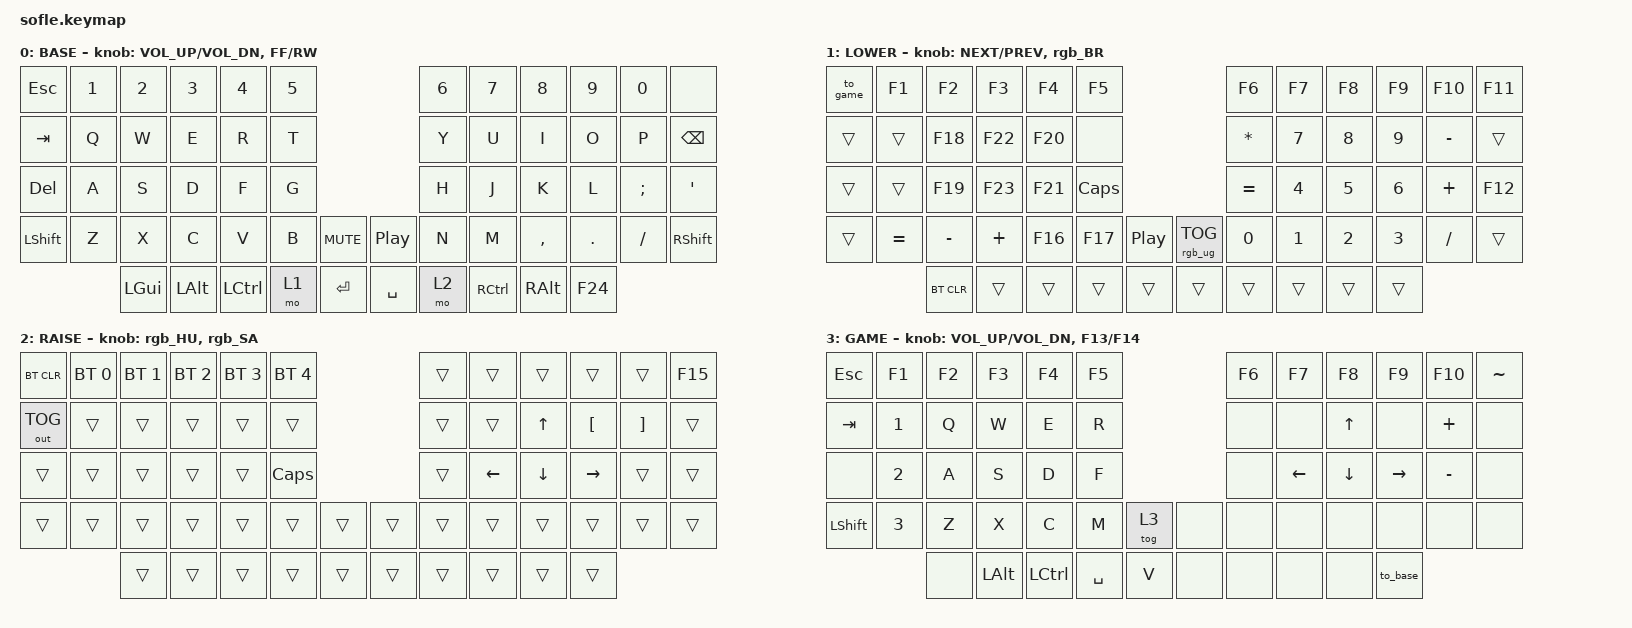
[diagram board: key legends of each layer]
/*
 * Copyright (c) 2020 The ZMK Contributors
 *
 * SPDX-License-Identifier: MIT
 *
 * https://zmk.dev/docs/codes/#f-keys
 */

#include <behaviors.dtsi>
#include <dt-bindings/zmk/keys.h>
#include <dt-bindings/zmk/bt.h>
#include <dt-bindings/zmk/rgb.h>
#include <dt-bindings/zmk/ext_power.h>
#include <dt-bindings/zmk/outputs.h>

/ {



    macros {
        to_game: layer_game {
            label = "TO_GAME";
            compatible = "zmk,behavior-macro";
            #binding-cells = <0>;
            bindings = <&to 3 &rgb_ug RGB_ON>;
        }; 
        to_base: layer_base {
            label = "TO_BASE";
            compatible = "zmk,behavior-macro";
            #binding-cells = <0>;
            bindings = <&to 0 &rgb_ug RGB_OFF>;
        };
    };

    behaviors {
        rgb_BR: rgb_encoder_1 {
            compatible = "zmk,behavior-sensor-rotate";
            #sensor-binding-cells = <0>;
            bindings = <&rgb_ug RGB_BRI>, <&rgb_ug RGB_BRD>;
        };
        rgb_HU: rgb_encoder_2 {
            compatible = "zmk,behavior-sensor-rotate";
            #sensor-binding-cells = <0>;
            bindings = <&rgb_ug RGB_HUI>, <&rgb_ug RGB_HUD>;
        };
        rgb_SA: rgb_encoder_3 {
            compatible = "zmk,behavior-sensor-rotate";
            #sensor-binding-cells = <0>;
            bindings = <&rgb_ug RGB_SAI>, <&rgb_ug RGB_SAD>;
        };
    }; 
    
    keymap {
        compatible = "zmk,keymap";

    default_layer {
        label = "BASE";
        bindings = <
            // ╭─────────────┬─────────────┬─────────────┬─────────────┬─────────────┬─────────────╮                               ╭─────────────┬─────────────┬─────────────┬─────────────┬─────────────┬─────────────╮

                 &kp ESC       &kp N1        &kp N2        &kp N3        &kp N4        &kp N5                                        &kp N6        &kp N7        &kp N8        &kp N9        &kp N0        &none
            // ├─────────────┼─────────────┼─────────────┼─────────────┼─────────────┼─────────────┤                               ├─────────────┼─────────────┼─────────────┼─────────────┼─────────────┼─────────────┤
                                                                                                                                                                                                                            
                 &kp TAB       &kp Q         &kp W         &kp E         &kp R         &kp T                                         &kp Y         &kp U         &kp I         &kp O         &kp P         &kp BSPC
            // ├─────────────┼─────────────┼─────────────┼─────────────┼─────────────┼─────────────┤                               ├─────────────┼─────────────┼─────────────┼─────────────┼─────────────┼─────────────┤
                                                                                                                                                                                                                                
                 &kp DEL       &kp A         &kp S         &kp D         &kp F         &kp G                                         &kp H         &kp J         &kp K         &kp L         &kp SEMI      &kp SQT
            // ├─────────────┼─────────────┼─────────────┼─────────────┼─────────────┼─────────────┼─────────────╮   ╭─────────────┼─────────────┼─────────────┼─────────────┼─────────────┼─────────────┼─────────────┤
                                                                                                                                                                                                                        
                 &kp LSHFT     &kp Z         &kp X         &kp C         &kp V         &kp B         &kp C_MUTE        &kp C_PP      &kp N         &kp M         &kp COMMA     &kp DOT       &kp FSLH      &kp RSHFT
            // ╰─────────────┴─────────────┼─────────────┼─────────────┼─────────────┼─────────────┼─────────────┤   ├─────────────┼─────────────┼─────────────┼─────────────┼─────────────┼─────────────┴─────────────╯
                                                                                                                                                                                                                                
                                             &kp LGUI      &kp LALT      &kp LCTRL     &mo 1         &kp RET           &kp SPACE     &mo 2         &kp RCTRL     &kp RALT      &kp F24
            //                             ╰─────────────┴─────────────┴─────────────┴─────────────┴─────────────╯   ╰─────────────┴─────────────┴─────────────┴─────────────┴─────────────╯
        >;

            sensor-bindings = <&inc_dec_kp C_VOL_UP C_VOL_DN &inc_dec_kp C_FF C_RW>;
        };


    lower_layer {
        label = "LOWER";
        bindings = <
            // ╭─────────────┬─────────────┬─────────────┬─────────────┬─────────────┬─────────────╮                               ╭─────────────┬─────────────┬─────────────┬─────────────┬─────────────┬─────────────╮

                 &to_game      &kp F1        &kp F2        &kp F3        &kp F4        &kp F5                                        &kp F6        &kp F7        &kp F8        &kp F9        &kp F10       &kp F11
            // ├─────────────┼─────────────┼─────────────┼─────────────┼─────────────┼─────────────┤                               ├─────────────┼─────────────┼─────────────┼─────────────┼─────────────┼─────────────┤
                                                                                                                                                                                                                            
                 &trans        &trans        &kp F18       &kp F22       &kp F20       &none                                         &kp STAR      &kp N7        &kp N8        &kp N9        &kp MINUS     &trans        
            // ├─────────────┼─────────────┼─────────────┼─────────────┼─────────────┼─────────────┤                               ├─────────────┼─────────────┼─────────────┼─────────────┼─────────────┼─────────────┤

                 &trans        &trans        &kp F19       &kp F23       &kp F21       &kp CLCK                                      &kp EQUAL     &kp N4        &kp N5        &kp N6        &kp PLUS      &kp F12
            // ├─────────────┼─────────────┼─────────────┼─────────────┼─────────────┼─────────────┼─────────────╮   ╭─────────────┼─────────────┼─────────────┼─────────────┼─────────────┼─────────────┼─────────────┤
                                                                                                                                                                                                                        
                 &trans        &kp EQUAL     &kp MINUS     &kp PLUS      &kp F16       &kp F17       &kp C_PP          &rgb_ug RGB_TOG &kp N0       &kp N1        &kp N2        &kp N3        &kp SLASH     &trans
            // ╰─────────────┴─────────────┼─────────────┼─────────────┼─────────────┼─────────────┼─────────────┤   ├─────────────┼─────────────┼─────────────┼─────────────┼─────────────┼─────────────┴─────────────╯
                                                                                                                                                                                                                                
                                             &bt BT_CLR    &trans        &trans        &trans        &trans            &trans        &trans        &trans        &trans        &trans
            //                             ╰─────────────┴─────────────┴─────────────┴─────────────┴─────────────╯   ╰─────────────┴─────────────┴─────────────┴─────────────┴─────────────╯
        >;

            sensor-bindings = <&inc_dec_kp C_NEXT C_PREV &rgb_BR>;
        };

    raise_layer {
        label = "RAISE";
        bindings = <
            // ╭─────────────┬─────────────┬─────────────┬─────────────┬─────────────┬─────────────╮                               ╭─────────────┬─────────────┬─────────────┬─────────────┬─────────────┬─────────────╮

                 &bt BT_CLR    &bt BT_SEL 0  &bt BT_SEL 1  &bt BT_SEL 2  &bt BT_SEL 3  &bt BT_SEL 4                                  &trans        &trans        &trans        &trans        &trans        &kp F15
            // ├─────────────┼─────────────┼─────────────┼─────────────┼─────────────┼─────────────┤                               ├─────────────┼─────────────┼─────────────┼─────────────┼─────────────┼─────────────┤
                                                                                                                                                                                                                            
                 &out OUT_TOG  &trans        &trans        &trans        &trans        &trans                                        &trans        &trans        &kp UP        &kp LBKT      &kp RBKT      &trans        
            // ├─────────────┼─────────────┼─────────────┼─────────────┼─────────────┼─────────────┤                               ├─────────────┼─────────────┼─────────────┼─────────────┼─────────────┼─────────────┤
                                                                                                                                                                                                                                
                 &trans        &trans        &trans        &trans        &trans        &kp CLCK                                      &trans        &kp LEFT      &kp DOWN      &kp RIGHT     &trans        &trans
            // ├─────────────┼─────────────┼─────────────┼─────────────┼─────────────┼─────────────┼─────────────╮   ╭─────────────┼─────────────┼─────────────┼─────────────┼─────────────┼─────────────┼─────────────┤
                                                                                                                                                                                                                        
                 &trans        &trans        &trans        &trans        &trans        &trans        &trans            &trans        &trans        &trans        &trans        &trans        &trans        &trans
            // ╰─────────────┴─────────────┼─────────────┼─────────────┼─────────────┼─────────────┼─────────────┤   ├─────────────┼─────────────┼─────────────┼─────────────┼─────────────┼─────────────┴─────────────╯
                                                                                                                                                                                                                            
                                             &trans        &trans        &trans        &trans        &trans            &trans        &trans        &trans        &trans        &trans
            //                             ╰─────────────┴─────────────┴─────────────┴─────────────┴─────────────╯   ╰─────────────┴─────────────┴─────────────┴─────────────┴─────────────╯
        >;

            sensor-bindings = <&rgb_HU &rgb_SA>;
        };


    game_layer {
        label = "GAME";
        bindings = <
            // ╭─────────────┬─────────────┬─────────────┬─────────────┬─────────────┬─────────────╮                               ╭─────────────┬─────────────┬─────────────┬─────────────┬─────────────┬─────────────╮

                 &kp ESC       &kp F1        &kp F2        &kp F3        &kp F4        &kp F5                                        &kp F6        &kp F7        &kp F8        &kp F9        &kp F10       &kp TILDE
            // ├─────────────┼─────────────┼─────────────┼─────────────┼─────────────┼─────────────┤                               ├─────────────┼─────────────┼─────────────┼─────────────┼─────────────┼─────────────┤
                                                                                                                                                                                                                            
                 &kp TAB       &kp N1        &kp Q         &kp W         &kp E         &kp R                                         &none         &none         &kp UP        &none         &kp PLUS         &none
            // ├─────────────┼─────────────┼─────────────┼─────────────┼─────────────┼─────────────┤                               ├─────────────┼─────────────┼─────────────┼─────────────┼─────────────┼─────────────┤
                                                                                                                                                                                                                                
                 &none         &kp N2        &kp A         &kp S         &kp D         &kp F                                         &none         &kp LEFT      &kp DOWN      &kp RIGHT     &kp MINUS     &none
            // ├─────────────┼─────────────┼─────────────┼─────────────┼─────────────┼─────────────┼─────────────╮   ╭─────────────┼─────────────┼─────────────┼─────────────┼─────────────┼─────────────┼─────────────┤
                                                                                                                                                                                                                        
                 &kp LSHFT     &kp N3        &kp Z         &kp X         &kp C         &kp M         &tog 3            &none         &none         &none         &none         &none         &none         &none
            // ╰─────────────┴─────────────┼─────────────┼─────────────┼─────────────┼─────────────┼─────────────┤   ├─────────────┼─────────────┼─────────────┼─────────────┼─────────────┼─────────────┴─────────────╯
                                                                                                                                                                                                                            
                                             &none         &kp LALT      &kp LCTRL     &kp SPACE     &kp V             &none         &none         &none         &none         &to_base
            //                             ╰─────────────┴─────────────┴─────────────┴─────────────┴─────────────╯   ╰─────────────┴─────────────┴─────────────┴─────────────┴─────────────╯
        >;

            sensor-bindings = <&inc_dec_kp C_VOL_UP C_VOL_DN &inc_dec_kp F13 F14>;
        };
    };
};
